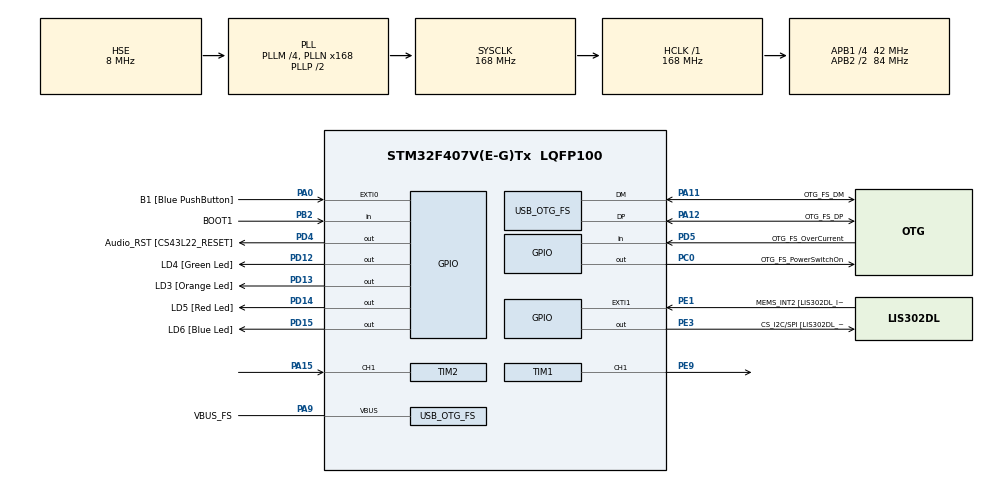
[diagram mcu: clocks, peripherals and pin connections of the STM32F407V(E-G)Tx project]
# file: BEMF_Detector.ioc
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Mcu.Family=STM32F4
Mcu.Name=STM32F407V(E-G)Tx
Mcu.Package=LQFP100
Mcu.UserConstants=PWM_RESOL,10000;PWM_FREQ,50
NVIC.OTG_FS_IRQn=true\:0\:0\:false\:false\:true\:true
NVIC.PriorityGroup=NVIC_PRIORITYGROUP_0
NVIC.TIM2_IRQn=true\:0\:0\:false\:false\:true\:true
PA0-WKUP.GPIO_Label=B1 [Blue PushButton]
PA0-WKUP.GPIO_ModeDefaultEXTI=GPIO_MODE_EVT_RISING
PA0-WKUP.GPIO_PuPd=GPIO_NOPULL
PA0-WKUP.Signal=GPXTI0
PA10.GPIO_Label=OTG_FS_ID
PA10.GPIO_Mode=GPIO_MODE_AF_PP
PA10.GPIO_PuPd=GPIO_NOPULL
PA10.GPIO_Speed=GPIO_SPEED_FREQ_LOW
PA10.Signal=USB_OTG_FS_ID
PA11.GPIO_Label=OTG_FS_DM
PA11.GPIO_Mode=GPIO_MODE_AF_PP
PA11.GPIO_PuPd=GPIO_NOPULL
PA11.GPIO_Speed=GPIO_SPEED_FREQ_LOW
PA11.Mode=Device_Only
PA11.Signal=USB_OTG_FS_DM
PA12.GPIO_Label=OTG_FS_DP
PA12.GPIO_Mode=GPIO_MODE_AF_PP
PA12.GPIO_PuPd=GPIO_NOPULL
PA12.GPIO_Speed=GPIO_SPEED_FREQ_LOW
PA12.Mode=Device_Only
PA12.Signal=USB_OTG_FS_DP
PA13.GPIO_Label=SWDIO
PA13.Signal=SYS_JTMS-SWDIO
PA14.GPIO_Label=SWCLK
PA14.Signal=SYS_JTCK-SWCLK
PA15.GPIO_Speed=GPIO_SPEED_FREQ_VERY_HIGH
PA15.Signal=S_TIM2_CH1_ETR
PA4.GPIO_Label=I2S3_WS [CS43L22_LRCK]
PA4.GPIO_Mode=GPIO_MODE_AF_PP
PA4.GPIO_PuPd=GPIO_NOPULL
PA4.GPIO_Speed=GPIO_SPEED_FREQ_LOW
PA4.Signal=I2S3_WS
PA5.GPIO_Label=SPI1_SCK [LIS302DL_SCL/SPC]
PA5.GPIO_Mode=GPIO_MODE_AF_PP
PA5.GPIO_PuPd=GPIO_NOPULL
PA5.GPIO_Speed=GPIO_SPEED_FREQ_LOW
PA5.Signal=SPI1_SCK
PA6.GPIO_Label=SPI1_MISO [LIS302DL_SDO]
PA6.GPIO_Mode=GPIO_MODE_AF_PP
PA6.GPIO_PuPd=GPIO_NOPULL
PA6.GPIO_Speed=GPIO_SPEED_FREQ_LOW
PA6.Signal=SPI1_MISO
PA7.GPIO_Label=SPI1_MOSI [LIS302DL_SDA/SDI/SDO]
PA7.GPIO_Mode=GPIO_MODE_AF_PP
PA7.GPIO_PuPd=GPIO_NOPULL
PA7.GPIO_Speed=GPIO_SPEED_FREQ_LOW
PA7.Signal=SPI1_MOSI
PA9.GPIO_Label=VBUS_FS
PA9.GPIO_Mode=GPIO_MODE_INPUT
PA9.GPIO_PuPd=GPIO_NOPULL
PA9.Mode=Activate_VBUS
PA9.Signal=USB_OTG_FS_VBUS
PB10.GPIO_Label=CLK_IN [MP45DT02_CLK]
PB10.GPIO_Mode=GPIO_MODE_AF_PP
PB10.GPIO_PuPd=GPIO_NOPULL
PB10.GPIO_Speed=GPIO_SPEED_FREQ_LOW
PB10.Signal=I2S2_CK
PB2.GPIO_Label=BOOT1
PB2.GPIO_Mode=GPIO_MODE_INPUT
PB2.GPIO_PuPd=GPIO_NOPULL
PB2.Signal=GPIO_Input
PB3.GPIO_Label=SWO
PB3.Signal=SYS_JTDO-SWO
PB6.GPIO_Label=Audio_SCL [CS43L22_SCL]
PB6.GPIO_Mode=GPIO_MODE_AF_OD
PB6.GPIO_PuPd=GPIO_NOPULL
PB6.GPIO_Speed=GPIO_SPEED_FREQ_LOW
PB6.Signal=I2C1_SCL
PB9.GPIO_Label=Audio_SDA [CS43L22_SDA]
PB9.GPIO_Mode=GPIO_MODE_AF_OD
PB9.GPIO_PuPd=GPIO_NOPULL
PB9.GPIO_Speed=GPIO_SPEED_FREQ_LOW
PB9.Signal=I2C1_SDA
PC0.GPIO_Label=OTG_FS_PowerSwitchOn
PC0.GPIO_PuPd=GPIO_NOPULL
PC0.GPIO_Speed=GPIO_SPEED_FREQ_LOW
PC0.PinState=GPIO_PIN_SET
PC0.Signal=GPIO_Output
PC10.GPIO_Label=I2S3_SCK [CS43L22_SCLK]
PC10.GPIO_Mode=GPIO_MODE_AF_PP
PC10.GPIO_PuPd=GPIO_NOPULL
PC10.GPIO_Speed=GPIO_SPEED_FREQ_LOW
PC10.Signal=I2S3_CK
PC12.GPIO_Label=I2S3_SD [CS43L22_SDIN]
PC12.GPIO_Mode=GPIO_MODE_AF_PP
PC12.GPIO_PuPd=GPIO_NOPULL
PC12.GPIO_Speed=GPIO_SPEED_FREQ_LOW
PC12.Signal=I2S3_SD
PC14-OSC32_IN.GPIO_Label=PC14-OSC32_IN
PC14-OSC32_IN.Signal=RCC_OSC32_IN
PC15-OSC32_OUT.GPIO_Label=PC15-OSC32_OUT
PC15-OSC32_OUT.Signal=RCC_OSC32_OUT
PC3.GPIO_Label=PDM_OUT [MP45DT02_DOUT]
PC3.GPIO_Mode=GPIO_MODE_AF_PP
PC3.GPIO_PuPd=GPIO_NOPULL
PC3.GPIO_Speed=GPIO_SPEED_FREQ_LOW
PC3.Signal=I2S2_SD
PC7.GPIO_Label=I2S3_MCK [CS43L22_MCLK]
PC7.GPIO_Mode=GPIO_MODE_AF_PP
PC7.GPIO_PuPd=GPIO_NOPULL
PC7.GPIO_Speed=GPIO_SPEED_FREQ_LOW
PC7.Signal=I2S3_MCK
PD12.GPIO_Label=LD4 [Green Led]
PD12.GPIO_PuPd=GPIO_NOPULL
PD12.GPIO_Speed=GPIO_SPEED_FREQ_LOW
PD12.Signal=GPIO_Output
PD13.GPIO_Label=LD3 [Orange Led]
PD13.GPIO_PuPd=GPIO_NOPULL
PD13.GPIO_Speed=GPIO_SPEED_FREQ_LOW
PD13.Signal=GPIO_Output
PD14.GPIO_Label=LD5 [Red Led]
PD14.GPIO_PuPd=GPIO_NOPULL
PD14.GPIO_Speed=GPIO_SPEED_FREQ_LOW
PD14.Signal=GPIO_Output
PD15.GPIO_Label=LD6 [Blue Led]
PD15.GPIO_PuPd=GPIO_NOPULL
PD15.GPIO_Speed=GPIO_SPEED_FREQ_VERY_HIGH
PD15.Signal=GPIO_Output
PD4.GPIO_Label=Audio_RST [CS43L22_RESET]
PD4.GPIO_PuPd=GPIO_NOPULL
PD4.GPIO_Speed=GPIO_SPEED_FREQ_LOW
PD4.Signal=GPIO_Output
PD5.GPIO_Label=OTG_FS_OverCurrent
PD5.GPIO_Mode=GPIO_MODE_INPUT
PD5.GPIO_PuPd=GPIO_NOPULL
PD5.Signal=GPIO_Input
PE1.GPIO_Label=MEMS_INT2 [LIS302DL_INT2]
PE1.GPIO_ModeDefaultEXTI=GPIO_MODE_EVT_RISING
PE1.GPIO_PuPd=GPIO_NOPULL
PE1.Signal=GPXTI1
PE3.GPIO_Label=CS_I2C/SPI [LIS302DL_CS_I2C/SPI]
PE3.GPIO_PuPd=GPIO_NOPULL
PE3.GPIO_Speed=GPIO_SPEED_FREQ_LOW
PE3.Signal=GPIO_Output
PE9.Signal=S_TIM1_CH1
PH0-OSC_IN.GPIO_Label=PH0-OSC_IN
PH0-OSC_IN.Mode=HSE-External-Oscillator
PH0-OSC_IN.Signal=RCC_OSC_IN
PH1-OSC_OUT.GPIO_Label=PH1-OSC_OUT
PH1-OSC_OUT.Mode=HSE-External-Oscillator
PH1-OSC_OUT.Signal=RCC_OSC_OUT
ProjectManager.HeapSize=0x200
ProjectManager.StackSize=0x400
ProjectManager.TargetToolchain=SW4STM32
RCC.48MHZClocksFreq_Value=48000000
RCC.AHBFreq_Value=168000000
RCC.APB1CLKDivider=RCC_HCLK_DIV4
RCC.APB1Freq_Value=42000000
RCC.APB1TimFreq_Value=84000000
RCC.APB2CLKDivider=RCC_HCLK_DIV2
RCC.APB2Freq_Value=84000000
RCC.APB2TimFreq_Value=168000000
RCC.CortexFreq_Value=168000000
RCC.HCLKFreq_Value=168000000
RCC.HSE_VALUE=8000000
RCC.HSI_VALUE=16000000
RCC.LSE_VALUE=32768
RCC.PLLM=4
RCC.PLLN=168
RCC.PLLQ=7
RCC.SYSCLKFreq_VALUE=168000000
RCC.SYSCLKSource=RCC_SYSCLKSOURCE_PLLCLK
RCC.VCOOutputFreq_Value=336000000
SH.S_TIM1_CH1.0=TIM1_CH1,PWM Generation1 CH1
SH.S_TIM2_CH1_ETR.0=TIM2_CH1,Input_Capture1_from_TI1
TIM1.Channel-PWM\ Generation1\ CH1=TIM_CHANNEL_1
TIM1.Period=PWM_RESOL
TIM1.Prescaler=SystemCoreClock/(PWM_FREQ*PWM_RESOL)-1
TIM1.Pulse-PWM\ Generation1\ CH1=500
TIM2.Channel-Input_Capture1_from_TI1=TIM_CHANNEL_1
TIM2.Period=100000000
TIM2.Prescaler=84
USB_DEVICE.CLASS_NAME_FS=CDC
USB_DEVICE.VirtualModeFS=Cdc_FS
USB_OTG_FS.VirtualMode=Device_Only
VP_USB_DEVICE_VS_USB_DEVICE_CDC_FS.Mode=CDC_FS
board=STM32F4DISCOVERY

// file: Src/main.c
/**
  ******************************************************************************
  * File Name          : main.c
  * Description        : Main program body
  ******************************************************************************
  *
  * Copyright (c) 2018 STMicroelectronics International N.V.
  * All rights reserved.
  *
  * Redistribution and use in source and binary forms, with or without
  * modification, are permitted, provided that the following conditions are met:
  *
  * 1. Redistribution of source code must retain the above copyright notice,
  *    this list of conditions and the following disclaimer.
  * 2. Redistributions in binary form must reproduce the above copyright notice,
  *    this list of conditions and the following disclaimer in the documentation
  *    and/or other materials provided with the distribution.
  * 3. Neither the name of STMicroelectronics nor the names of other
  *    contributors to this software may be used to endorse or promote products
  *    derived from this software without specific written permission.
  * 4. This software, including modifications and/or derivative works of this
  *    software, must execute solely and exclusively on microcontroller or
  *    microprocessor devices manufactured by or for STMicroelectronics.
  * 5. Redistribution and use of this software other than as permitted under
  *    this license is void and will automatically terminate your rights under
  *    this license.
  *
  * THIS SOFTWARE IS PROVIDED BY STMICROELECTRONICS AND CONTRIBUTORS "AS IS"
  * AND ANY EXPRESS, IMPLIED OR STATUTORY WARRANTIES, INCLUDING, BUT NOT
  * LIMITED TO, THE IMPLIED WARRANTIES OF MERCHANTABILITY, FITNESS FOR A
  * PARTICULAR PURPOSE AND NON-INFRINGEMENT OF THIRD PARTY INTELLECTUAL PROPERTY
  * RIGHTS ARE DISCLAIMED TO THE FULLEST EXTENT PERMITTED BY LAW. IN NO EVENT
  * SHALL STMICROELECTRONICS OR CONTRIBUTORS BE LIABLE FOR ANY DIRECT, INDIRECT,
  * INCIDENTAL, SPECIAL, EXEMPLARY, OR CONSEQUENTIAL DAMAGES (INCLUDING, BUT NOT
  * LIMITED TO, PROCUREMENT OF SUBSTITUTE GOODS OR SERVICES; LOSS OF USE, DATA,
  * OR PROFITS; OR BUSINESS INTERRUPTION) HOWEVER CAUSED AND ON ANY THEORY OF
  * LIABILITY, WHETHER IN CONTRACT, STRICT LIABILITY, OR TORT (INCLUDING
  * NEGLIGENCE OR OTHERWISE) ARISING IN ANY WAY OUT OF THE USE OF THIS SOFTWARE,
  * EVEN IF ADVISED OF THE POSSIBILITY OF SUCH DAMAGE.
  *
  ******************************************************************************
  */
#include "main.h"
#include "stm32f4xx_hal.h"
#include "usb_device.h"

/* USER CODE BEGIN Includes */
#include "usbd_cdc_if.h"

//----------CON ESTO ELEGIS SI QUERES HACER UNA MEDICION O LA OTRA------------//

//#define MEDICION_VELGIRO
#define MEDICION_VELRESPUESTA

/* USER CODE END Includes */

TIM_HandleTypeDef htim1;
TIM_HandleTypeDef htim2;

/* USER CODE BEGIN PV */
/* Private variables ---------------------------------------------------------*/

/* USER CODE END PV */

void SystemClock_Config(void);
void Error_Handler(void);
static void MX_GPIO_Init(void);
static void MX_TIM1_Init(void);
static void MX_TIM2_Init(void);
void HAL_TIM_MspPostInit(TIM_HandleTypeDef *htim);

/* USER CODE BEGIN PFP */
/* Private function prototypes -----------------------------------------------*/
/* USER CODE END PFP */

/* USER CODE BEGIN 0 */
volatile uint32_t input_capture = 0, cant_veces = 0, timer = 0;
/* USER CODE END 0 */

int main(void)
{

  /* USER CODE BEGIN 1 */

	uint8_t aux[20];
	uint8_t trbuffer[] = "Hola mundo\r\n";
	uint32_t i=0;
	uint32_t state = 0, start = 0, end = 0;
  /* USER CODE END 1 */

  /* MCU Configuration----------------------------------------------------------*/

  /* Reset of all peripherals, Initializes the Flash interface and the Systick. */
  HAL_Init();

  /* Configure the system clock */
  SystemClock_Config();

  /* Initialize all configured peripherals */
  MX_GPIO_Init();
  MX_USB_DEVICE_Init();
  MX_TIM1_Init();
  MX_TIM2_Init();

  /* USER CODE BEGIN 2 */
  HAL_TIM_PWM_Start(&htim1, TIM_CHANNEL_1);
  HAL_Delay(1000);
  __HAL_TIM_SET_COMPARE(&htim1,TIM_CHANNEL_1,1000);
  HAL_Delay(3000);
  __HAL_TIM_SET_COMPARE(&htim1,TIM_CHANNEL_1,500);
  HAL_Delay(2000);
#ifdef MEDICION_TORQUE
//  __HAL_TIM_SET_COMPARE(&htim1,TIM_CHANNEL_1,510);
#elif defined(MEDICION_VELRESPUESTA)
  __HAL_TIM_SET_COMPARE(&htim1,TIM_CHANNEL_1,625);
#endif
  //__HAL_TIM_SET_COMPARE(&htim1,TIM_CHANNEL_1,1000);
  HAL_TIM_IC_Start_IT(&htim2, TIM_CHANNEL_1);
  //HAL_Delay(2000);

  HAL_Delay(1000);
  timer = 0;
  /* USER CODE END 2 */

  /* Infinite loop */
  while (1)
  {

  /* USER CODE BEGIN 3 */
//	  for (int i=0;i<50;i++)
//	  {
//		  __HAL_TIM_SET_COMPARE(&htim1,TIM_CHANNEL_1,500+10*i);
//		  HAL_Delay(500);
//	  }
//	CDC_Transmit_FS(trbuffer,13);

#ifdef MEDICION_VELGIRO

	  if(i<=50)
	  {
		  switch(state)
		  {
		  case 0:
			  __HAL_TIM_SET_COMPARE(&htim1,TIM_CHANNEL_1,500+10*i);

			  if(timer>=500)
			  {
				  if(i < 1)
				  {
//					  CDC_Transmit_FS(&trbuffer[0],(uint16_t)(strlen((char*)trbuffer)+1));
					  __HAL_TIM_SetCounter(&htim2, 0);
					  i++;
				  }
				  state = 1;
			  }
			  break;
		  case 1:
			  if(cant_veces>0)
			  {
				  if(i>0)
				  {
//					  sprintf((char*)aux,"%lu\n",i);
//					  CDC_Transmit_FS(&aux[0],(uint16_t)(strlen(aux)+1));
//					  sprintf((char*)aux,"%lu, %lu\n",i, input_capture);
					  sprintf((char*)aux,"%lu\n",input_capture);
					  CDC_Transmit_FS(&aux[0],(uint16_t)(strlen((char*)aux)+1));
				  }
				  cant_veces = 0;
				  input_capture = 0;
				  state = 0;
				  timer = 0;
				  i++;
			  }
			  break;
		  }
	  }
	  else
	  {
		  __HAL_TIM_SET_COMPARE(&htim1,TIM_CHANNEL_1,500);
	  }
#elif defined(MEDICION_VELRESPUESTA)

	  // De 25 a 29 - De 29 a 25 - De 25 a 21 - De 21 a 25...

	  if(!start)
	  {
		  if(timer > 5000)
		  {
			  CDC_Transmit_FS(&trbuffer[0],(uint16_t)(strlen((char*)trbuffer)+1));
			  __HAL_TIM_SetCounter(&htim2, 0);
			  cant_veces = 0;
			  __HAL_TIM_SET_COMPARE(&htim1,TIM_CHANNEL_1,645);	//De 25 a 29
			  timer = 0;
			  start = 1;
		  }
	  }
	  else
	  {
		  if (timer <= 500 && !end)
		  {
			  if(cant_veces > 0)
			  {
				  cant_veces = 0;
				  if(input_capture > 100)
				  {
					  sprintf((char*)aux,"%lu\n",input_capture);
					  CDC_Transmit_FS(&aux[0],(uint16_t)(strlen((char*)aux)+1));
				  }
			  }
		  }
		  else
		  {
			  timer = 0;
			  switch(state)
			  {
			  case 0:
				  __HAL_TIM_SET_COMPARE(&htim1,TIM_CHANNEL_1,625);	//De 29 a 25
				  break;

			  case 1:
				  __HAL_TIM_SET_COMPARE(&htim1,TIM_CHANNEL_1,605);	//De 25 a 21
				  break;

			  case 2:
				  __HAL_TIM_SET_COMPARE(&htim1,TIM_CHANNEL_1,605);	//De 21 a 25
				  break;

			  default:
				  end = 1;
				  __HAL_TIM_SET_COMPARE(&htim1,TIM_CHANNEL_1,500);	//Apago motor
				  break;
			  }
			  state++;
		  }
	  }
#else
	  HAL_GPIO_TogglePin(LD3_GPIO_Port,LD3_Pin);
	  HAL_Delay(500);
#endif
//	  HAL_Delay(5);
//	  __HAL_TIM_SET_COMPARE(&htim1,TIM_CHANNEL_1,1000);
//	  HAL_GPIO_TogglePin(GPIOD, GPIO_PIN_15);
//	  if(cant_veces>0)
//	  {
//		  sprintf(aux,"%d\n",input_capture);
//		  CDC_Transmit_FS(&aux[0],5);
//		  cant_veces = 0;
//	  }
//	HAL_Delay(1000);
//	CDC_Transmit_FS(&aux[0],5);
  }
  /* USER CODE END 3 */

}

/** System Clock Configuration
*/
void SystemClock_Config(void)
{

  RCC_OscInitTypeDef RCC_OscInitStruct;
  RCC_ClkInitTypeDef RCC_ClkInitStruct;

    /**Configure the main internal regulator output voltage
    */
  __HAL_RCC_PWR_CLK_ENABLE();

  __HAL_PWR_VOLTAGESCALING_CONFIG(PWR_REGULATOR_VOLTAGE_SCALE1);

    /**Initializes the CPU, AHB and APB busses clocks
    */
  RCC_OscInitStruct.OscillatorType = RCC_OSCILLATORTYPE_HSE;
  RCC_OscInitStruct.HSEState = RCC_HSE_ON;
  RCC_OscInitStruct.PLL.PLLState = RCC_PLL_ON;
  RCC_OscInitStruct.PLL.PLLSource = RCC_PLLSOURCE_HSE;
  RCC_OscInitStruct.PLL.PLLM = 4;
  RCC_OscInitStruct.PLL.PLLN = 168;
  RCC_OscInitStruct.PLL.PLLP = RCC_PLLP_DIV2;
  RCC_OscInitStruct.PLL.PLLQ = 7;
  if (HAL_RCC_OscConfig(&RCC_OscInitStruct) != HAL_OK)
  {
    Error_Handler();
  }

    /**Initializes the CPU, AHB and APB busses clocks
    */
  RCC_ClkInitStruct.ClockType = RCC_CLOCKTYPE_HCLK|RCC_CLOCKTYPE_SYSCLK
                              |RCC_CLOCKTYPE_PCLK1|RCC_CLOCKTYPE_PCLK2;
  RCC_ClkInitStruct.SYSCLKSource = RCC_SYSCLKSOURCE_PLLCLK;
  RCC_ClkInitStruct.AHBCLKDivider = RCC_SYSCLK_DIV1;
  RCC_ClkInitStruct.APB1CLKDivider = RCC_HCLK_DIV4;
  RCC_ClkInitStruct.APB2CLKDivider = RCC_HCLK_DIV2;

  if (HAL_RCC_ClockConfig(&RCC_ClkInitStruct, FLASH_LATENCY_5) != HAL_OK)
  {
    Error_Handler();
  }

    /**Configure the Systick interrupt time
    */
  HAL_SYSTICK_Config(HAL_RCC_GetHCLKFreq()/1000);

    /**Configure the Systick
    */
  HAL_SYSTICK_CLKSourceConfig(SYSTICK_CLKSOURCE_HCLK);

  /* SysTick_IRQn interrupt configuration */
  HAL_NVIC_SetPriority(SysTick_IRQn, 0, 0);
}

/* TIM1 init function */
static void MX_TIM1_Init(void)
{

  TIM_MasterConfigTypeDef sMasterConfig;
  TIM_OC_InitTypeDef sConfigOC;
  TIM_BreakDeadTimeConfigTypeDef sBreakDeadTimeConfig;

  htim1.Instance = TIM1;
  htim1.Init.Prescaler = SystemCoreClock/(PWM_FREQ*PWM_RESOL)-1;
  htim1.Init.CounterMode = TIM_COUNTERMODE_UP;
  htim1.Init.Period = PWM_RESOL;
  htim1.Init.ClockDivision = TIM_CLOCKDIVISION_DIV1;
  htim1.Init.RepetitionCounter = 0;
  if (HAL_TIM_PWM_Init(&htim1) != HAL_OK)
  {
    Error_Handler();
  }

  sMasterConfig.MasterOutputTrigger = TIM_TRGO_RESET;
  sMasterConfig.MasterSlaveMode = TIM_MASTERSLAVEMODE_DISABLE;
  if (HAL_TIMEx_MasterConfigSynchronization(&htim1, &sMasterConfig) != HAL_OK)
  {
    Error_Handler();
  }

  sConfigOC.OCMode = TIM_OCMODE_PWM1;
  sConfigOC.Pulse = 500;
  sConfigOC.OCPolarity = TIM_OCPOLARITY_HIGH;
  sConfigOC.OCNPolarity = TIM_OCNPOLARITY_HIGH;
  sConfigOC.OCFastMode = TIM_OCFAST_DISABLE;
  sConfigOC.OCIdleState = TIM_OCIDLESTATE_RESET;
  sConfigOC.OCNIdleState = TIM_OCNIDLESTATE_RESET;
  if (HAL_TIM_PWM_ConfigChannel(&htim1, &sConfigOC, TIM_CHANNEL_1) != HAL_OK)
  {
    Error_Handler();
  }

  sBreakDeadTimeConfig.OffStateRunMode = TIM_OSSR_DISABLE;
  sBreakDeadTimeConfig.OffStateIDLEMode = TIM_OSSI_DISABLE;
  sBreakDeadTimeConfig.LockLevel = TIM_LOCKLEVEL_OFF;
  sBreakDeadTimeConfig.DeadTime = 0;
  sBreakDeadTimeConfig.BreakState = TIM_BREAK_DISABLE;
  sBreakDeadTimeConfig.BreakPolarity = TIM_BREAKPOLARITY_HIGH;
  sBreakDeadTimeConfig.AutomaticOutput = TIM_AUTOMATICOUTPUT_DISABLE;
  if (HAL_TIMEx_ConfigBreakDeadTime(&htim1, &sBreakDeadTimeConfig) != HAL_OK)
  {
    Error_Handler();
  }

  HAL_TIM_MspPostInit(&htim1);

}

/* TIM2 init function */
static void MX_TIM2_Init(void)
{

  TIM_MasterConfigTypeDef sMasterConfig;
  TIM_IC_InitTypeDef sConfigIC;

  htim2.Instance = TIM2;
  htim2.Init.Prescaler = 84;
  htim2.Init.CounterMode = TIM_COUNTERMODE_UP;
  htim2.Init.Period = 100000000;
  htim2.Init.ClockDivision = TIM_CLOCKDIVISION_DIV1;
  if (HAL_TIM_IC_Init(&htim2) != HAL_OK)
  {
    Error_Handler();
  }

  sMasterConfig.MasterOutputTrigger = TIM_TRGO_RESET;
  sMasterConfig.MasterSlaveMode = TIM_MASTERSLAVEMODE_DISABLE;
  if (HAL_TIMEx_MasterConfigSynchronization(&htim2, &sMasterConfig) != HAL_OK)
  {
    Error_Handler();
  }

  sConfigIC.ICPolarity = TIM_INPUTCHANNELPOLARITY_RISING;
  sConfigIC.ICSelection = TIM_ICSELECTION_DIRECTTI;
  sConfigIC.ICPrescaler = TIM_ICPSC_DIV1;
  sConfigIC.ICFilter = 0;
  if (HAL_TIM_IC_ConfigChannel(&htim2, &sConfigIC, TIM_CHANNEL_1) != HAL_OK)
  {
    Error_Handler();
  }

}

/** Configure pins as
        * Analog
        * Input
        * Output
        * EVENT_OUT
        * EXTI
     PC3   ------> I2S2_SD
     PA4   ------> I2S3_WS
     PA5   ------> SPI1_SCK
     PA6   ------> SPI1_MISO
     PA7   ------> SPI1_MOSI
     PB10   ------> I2S2_CK
     PC7   ------> I2S3_MCK
     PC10   ------> I2S3_CK
     PC12   ------> I2S3_SD
     PB6   ------> I2C1_SCL
     PB9   ------> I2C1_SDA
*/
static void MX_GPIO_Init(void)
{

  GPIO_InitTypeDef GPIO_InitStruct;

  /* GPIO Ports Clock Enable */
  __HAL_RCC_GPIOE_CLK_ENABLE();
  __HAL_RCC_GPIOC_CLK_ENABLE();
  __HAL_RCC_GPIOH_CLK_ENABLE();
  __HAL_RCC_GPIOA_CLK_ENABLE();
  __HAL_RCC_GPIOB_CLK_ENABLE();
  __HAL_RCC_GPIOD_CLK_ENABLE();

  /*Configure GPIO pin Output Level */
  HAL_GPIO_WritePin(CS_I2C_SPI_GPIO_Port, CS_I2C_SPI_Pin, GPIO_PIN_RESET);

  /*Configure GPIO pin Output Level */
  HAL_GPIO_WritePin(OTG_FS_PowerSwitchOn_GPIO_Port, OTG_FS_PowerSwitchOn_Pin, GPIO_PIN_SET);

  /*Configure GPIO pin Output Level */
  HAL_GPIO_WritePin(GPIOD, LD4_Pin|LD3_Pin|LD5_Pin|LD6_Pin
                          |Audio_RST_Pin, GPIO_PIN_RESET);

  /*Configure GPIO pin : CS_I2C_SPI_Pin */
  GPIO_InitStruct.Pin = CS_I2C_SPI_Pin;
  GPIO_InitStruct.Mode = GPIO_MODE_OUTPUT_PP;
  GPIO_InitStruct.Pull = GPIO_NOPULL;
  GPIO_InitStruct.Speed = GPIO_SPEED_FREQ_LOW;
  HAL_GPIO_Init(CS_I2C_SPI_GPIO_Port, &GPIO_InitStruct);

  /*Configure GPIO pin : OTG_FS_PowerSwitchOn_Pin */
  GPIO_InitStruct.Pin = OTG_FS_PowerSwitchOn_Pin;
  GPIO_InitStruct.Mode = GPIO_MODE_OUTPUT_PP;
  GPIO_InitStruct.Pull = GPIO_NOPULL;
  GPIO_InitStruct.Speed = GPIO_SPEED_FREQ_LOW;
  HAL_GPIO_Init(OTG_FS_PowerSwitchOn_GPIO_Port, &GPIO_InitStruct);

  /*Configure GPIO pin : PDM_OUT_Pin */
  GPIO_InitStruct.Pin = PDM_OUT_Pin;
  GPIO_InitStruct.Mode = GPIO_MODE_AF_PP;
  GPIO_InitStruct.Pull = GPIO_NOPULL;
  GPIO_InitStruct.Speed = GPIO_SPEED_FREQ_LOW;
  GPIO_InitStruct.Alternate = GPIO_AF5_SPI2;
  HAL_GPIO_Init(PDM_OUT_GPIO_Port, &GPIO_InitStruct);

  /*Configure GPIO pin : B1_Pin */
  GPIO_InitStruct.Pin = B1_Pin;
  GPIO_InitStruct.Mode = GPIO_MODE_EVT_RISING;
  GPIO_InitStruct.Pull = GPIO_NOPULL;
  HAL_GPIO_Init(B1_GPIO_Port, &GPIO_InitStruct);

  /*Configure GPIO pin : I2S3_WS_Pin */
  GPIO_InitStruct.Pin = I2S3_WS_Pin;
  GPIO_InitStruct.Mode = GPIO_MODE_AF_PP;
  GPIO_InitStruct.Pull = GPIO_NOPULL;
  GPIO_InitStruct.Speed = GPIO_SPEED_FREQ_LOW;
  GPIO_InitStruct.Alternate = GPIO_AF6_SPI3;
  HAL_GPIO_Init(I2S3_WS_GPIO_Port, &GPIO_InitStruct);

  /*Configure GPIO pins : SPI1_SCK_Pin SPI1_MISO_Pin SPI1_MOSI_Pin */
  GPIO_InitStruct.Pin = SPI1_SCK_Pin|SPI1_MISO_Pin|SPI1_MOSI_Pin;
  GPIO_InitStruct.Mode = GPIO_MODE_AF_PP;
  GPIO_InitStruct.Pull = GPIO_NOPULL;
  GPIO_InitStruct.Speed = GPIO_SPEED_FREQ_LOW;
  GPIO_InitStruct.Alternate = GPIO_AF5_SPI1;
  HAL_GPIO_Init(GPIOA, &GPIO_InitStruct);

  /*Configure GPIO pin : BOOT1_Pin */
  GPIO_InitStruct.Pin = BOOT1_Pin;
  GPIO_InitStruct.Mode = GPIO_MODE_INPUT;
  GPIO_InitStruct.Pull = GPIO_NOPULL;
  HAL_GPIO_Init(BOOT1_GPIO_Port, &GPIO_InitStruct);

  /*Configure GPIO pin : CLK_IN_Pin */
  GPIO_InitStruct.Pin = CLK_IN_Pin;
  GPIO_InitStruct.Mode = GPIO_MODE_AF_PP;
  GPIO_InitStruct.Pull = GPIO_NOPULL;
  GPIO_InitStruct.Speed = GPIO_SPEED_FREQ_LOW;
  GPIO_InitStruct.Alternate = GPIO_AF5_SPI2;
  HAL_GPIO_Init(CLK_IN_GPIO_Port, &GPIO_InitStruct);

  /*Configure GPIO pins : LD4_Pin LD3_Pin LD5_Pin Audio_RST_Pin */
  GPIO_InitStruct.Pin = LD4_Pin|LD3_Pin|LD5_Pin|Audio_RST_Pin;
  GPIO_InitStruct.Mode = GPIO_MODE_OUTPUT_PP;
  GPIO_InitStruct.Pull = GPIO_NOPULL;
  GPIO_InitStruct.Speed = GPIO_SPEED_FREQ_LOW;
  HAL_GPIO_Init(GPIOD, &GPIO_InitStruct);

  /*Configure GPIO pin : LD6_Pin */
  GPIO_InitStruct.Pin = LD6_Pin;
  GPIO_InitStruct.Mode = GPIO_MODE_OUTPUT_PP;
  GPIO_InitStruct.Pull = GPIO_NOPULL;
  GPIO_InitStruct.Speed = GPIO_SPEED_FREQ_VERY_HIGH;
  HAL_GPIO_Init(LD6_GPIO_Port, &GPIO_InitStruct);

  /*Configure GPIO pins : I2S3_MCK_Pin I2S3_SCK_Pin I2S3_SD_Pin */
  GPIO_InitStruct.Pin = I2S3_MCK_Pin|I2S3_SCK_Pin|I2S3_SD_Pin;
  GPIO_InitStruct.Mode = GPIO_MODE_AF_PP;
  GPIO_InitStruct.Pull = GPIO_NOPULL;
  GPIO_InitStruct.Speed = GPIO_SPEED_FREQ_LOW;
  GPIO_InitStruct.Alternate = GPIO_AF6_SPI3;
  HAL_GPIO_Init(GPIOC, &GPIO_InitStruct);

  /*Configure GPIO pin : OTG_FS_OverCurrent_Pin */
  GPIO_InitStruct.Pin = OTG_FS_OverCurrent_Pin;
  GPIO_InitStruct.Mode = GPIO_MODE_INPUT;
  GPIO_InitStruct.Pull = GPIO_NOPULL;
  HAL_GPIO_Init(OTG_FS_OverCurrent_GPIO_Port, &GPIO_InitStruct);

  /*Configure GPIO pins : Audio_SCL_Pin Audio_SDA_Pin */
  GPIO_InitStruct.Pin = Audio_SCL_Pin|Audio_SDA_Pin;
  GPIO_InitStruct.Mode = GPIO_MODE_AF_OD;
  GPIO_InitStruct.Pull = GPIO_PULLUP;
  GPIO_InitStruct.Speed = GPIO_SPEED_FREQ_LOW;
  GPIO_InitStruct.Alternate = GPIO_AF4_I2C1;
  HAL_GPIO_Init(GPIOB, &GPIO_InitStruct);

  /*Configure GPIO pin : MEMS_INT2_Pin */
  GPIO_InitStruct.Pin = MEMS_INT2_Pin;
  GPIO_InitStruct.Mode = GPIO_MODE_EVT_RISING;
  GPIO_InitStruct.Pull = GPIO_NOPULL;
  HAL_GPIO_Init(MEMS_INT2_GPIO_Port, &GPIO_InitStruct);

}

/* USER CODE BEGIN 4 */
void HAL_TIM_IC_CaptureCallback(TIM_HandleTypeDef *htim)
{
//	uint8_t aux[5];
	if (htim->Instance==TIM2)
	{
//		  counter = __HAL_TIM_GetCounter(&htim2);
		input_capture = __HAL_TIM_GetCompare(&htim2, TIM_CHANNEL_1);    //read TIM2 channel 1 capture value
		cant_veces++;
//	  sprintf(aux,"%d\n",input_capture);
//	  CDC_Transmit_FS(&aux[0],5);
		__HAL_TIM_SetCounter(&htim2, 0);    //reset counter after input capture interrupt occurs
//		  HAL_GPIO_TogglePin(GPIOD,GPIO_PIN_15);
//		  HAL_GPIO_TogglePin(GPIOB,GPIO_PIN_2);
	}

}

/* USER CODE END 4 */

void Error_Handler(void)
{
  while(1)
  {
  }
}

/************************ (C) COPYRIGHT STMicroelectronics *****END OF FILE****/
